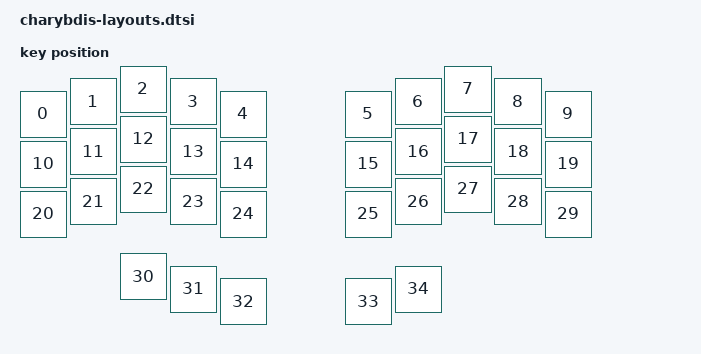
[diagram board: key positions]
/* SPDX-License-Identifier: MIT */
#include <physical_layouts.dtsi>

/ {
    charybdis_layout: charybdis_layout {
        compatible = "zmk,physical-layout";
        display-name = "Charybdis 35";
        transform = <&default_transform>;
        kscan = <&dongle_kscan>;

        // Schematic column stagger; keys follow the transform/keymap order.
        //                         width height x    y   rotation rx ry
        keys =
            <&key_physical_attrs 100 100    0  50 0 0 0>,
            <&key_physical_attrs 100 100  100  25 0 0 0>,
            <&key_physical_attrs 100 100  200   0 0 0 0>,
            <&key_physical_attrs 100 100  300  25 0 0 0>,
            <&key_physical_attrs 100 100  400  50 0 0 0>,
            <&key_physical_attrs 100 100  650  50 0 0 0>,
            <&key_physical_attrs 100 100  750  25 0 0 0>,
            <&key_physical_attrs 100 100  850   0 0 0 0>,
            <&key_physical_attrs 100 100  950  25 0 0 0>,
            <&key_physical_attrs 100 100 1050  50 0 0 0>,
            <&key_physical_attrs 100 100    0 150 0 0 0>,
            <&key_physical_attrs 100 100  100 125 0 0 0>,
            <&key_physical_attrs 100 100  200 100 0 0 0>,
            <&key_physical_attrs 100 100  300 125 0 0 0>,
            <&key_physical_attrs 100 100  400 150 0 0 0>,
            <&key_physical_attrs 100 100  650 150 0 0 0>,
            <&key_physical_attrs 100 100  750 125 0 0 0>,
            <&key_physical_attrs 100 100  850 100 0 0 0>,
            <&key_physical_attrs 100 100  950 125 0 0 0>,
            <&key_physical_attrs 100 100 1050 150 0 0 0>,
            <&key_physical_attrs 100 100    0 250 0 0 0>,
            <&key_physical_attrs 100 100  100 225 0 0 0>,
            <&key_physical_attrs 100 100  200 200 0 0 0>,
            <&key_physical_attrs 100 100  300 225 0 0 0>,
            <&key_physical_attrs 100 100  400 250 0 0 0>,
            <&key_physical_attrs 100 100  650 250 0 0 0>,
            <&key_physical_attrs 100 100  750 225 0 0 0>,
            <&key_physical_attrs 100 100  850 200 0 0 0>,
            <&key_physical_attrs 100 100  950 225 0 0 0>,
            <&key_physical_attrs 100 100 1050 250 0 0 0>,
            <&key_physical_attrs 100 100  200 375 0 0 0>,
            <&key_physical_attrs 100 100  300 400 0 0 0>,
            <&key_physical_attrs 100 100  400 425 0 0 0>,
            <&key_physical_attrs 100 100  650 425 0 0 0>,
            <&key_physical_attrs 100 100  750 400 0 0 0>;
    };
};
